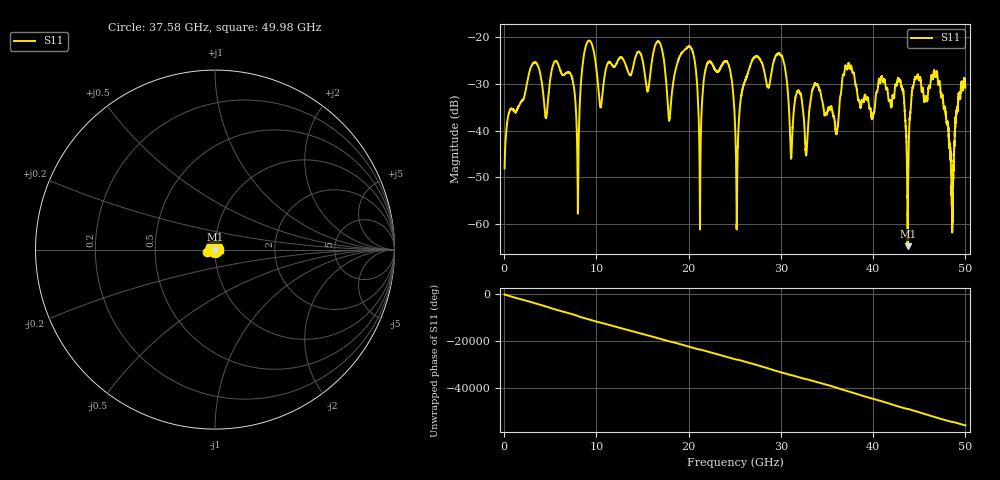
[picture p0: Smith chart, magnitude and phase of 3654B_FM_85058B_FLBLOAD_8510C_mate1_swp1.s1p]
!Created with skrf (http://scikit-rf.org).
# Hz S RI R 50.0
!freq ReS11 ImS11
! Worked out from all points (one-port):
!   10001 points, 45 MHz to 50 GHz, reference 50 ohm
!   lowest |S11| = -64.6 dB at 43.74 GHz (marker M1), VSWR 1.00, Z = 49.9 + j0.00688 ohm
!   |S11| at or under -10 dB: start of sweep to end of sweep
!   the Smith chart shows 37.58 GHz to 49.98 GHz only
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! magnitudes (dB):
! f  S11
! 45 MHz  -48.0
! 3.077 GHz  -25.9
! 6.289 GHz  -28.1
! 7.963 GHz  -51.6
! 9.017 GHz  -21.2
! 10.45 GHz  -35.0
! 12.53 GHz  -24.4
! 16.78 GHz  -21.1
! 17.91 GHz  -37.8
! 18.78 GHz  -25.6
! 20.4 GHz  -23.0
! 21.24 GHz  -55.0
! 22.01 GHz  -25.7
! 24.17 GHz  -25.3
! 25.02 GHz  -38.4
! 26.94 GHz  -24.8
! 29.68 GHz  -23.6
! 31.27 GHz  -39.3
! 33.8 GHz  -30.3
! 36.04 GHz  -40.7
! 37.51 GHz  -26.8
! 42.89 GHz  -29.5
! 43.74 GHz  -64.6
! 43.76 GHz  -59.1
! 44.45 GHz  -29.5
! 46.75 GHz  -28.6
! 48.58 GHz  -58.7
! 50 GHz  -30.9
